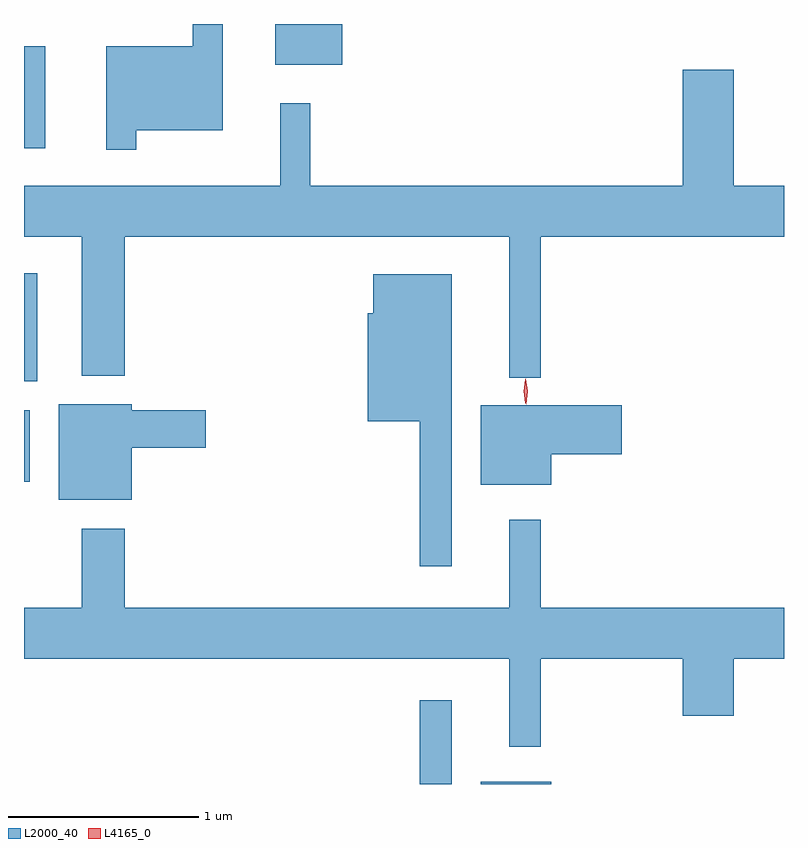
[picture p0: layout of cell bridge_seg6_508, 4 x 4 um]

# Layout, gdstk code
import gdstk
lib = gdstk.Library(unit=1e-6, precision=1e-09)
def R(c, l, rs):  # rectangles x0, y0, x1, y1
    for r in rs: c.add(gdstk.rectangle(r[:2], r[2:], *l))
def P(c, l, *ps):  # polygons
    for p in ps: c.add(gdstk.Polygon(p, *l))
L2000_40 = (2000, 40)
L4165_0 = (4165, 0)

bridge_seg6_508 = lib.new_cell('bridge_seg6_508')
R(bridge_seg6_508, L2000_40, [(513.391,1640.396,513.559,1640.838), (513.711,1640.396,514.084,1640.409), (511.308,1641.986,511.339,1642.364), (511.308,1642.516,511.379,1643.084), (511.308,1643.741,511.419,1644.279), (512.631,1644.181,512.984,1644.396)])
P(bridge_seg6_508, L2000_40, [(511.899,1643.836),(512.354,1643.836),(512.354,1644.396),(512.196,1644.396),(512.196,1644.279),(511.741,1644.279),(511.741,1643.733),(511.899,1643.733)],
  [(514.029,1643.276),(515.308,1643.276),(515.308,1643.544),(515.044,1643.544),(515.044,1644.154),(514.776,1644.154),(514.776,1643.544),(512.814,1643.544),(512.814,1643.978),(512.656,1643.978),(512.656,1643.544),(511.308,1643.544),(511.308,1643.276),(511.611,1643.276),(511.611,1642.546),(511.839,1642.546),(511.839,1643.276),(513.861,1643.276),(513.861,1642.533),(514.029,1642.533)],
  [(513.559,1643.079),(513.146,1643.079),(513.146,1642.874),(513.116,1642.874),(513.116,1642.306),(513.391,1642.306),(513.391,1641.543),(513.559,1641.543)],
  [(511.874,1642.166),(512.264,1642.166),(512.264,1642.364),(511.874,1642.364),(511.874,1642.394),(511.491,1642.394),(511.491,1641.891),(511.874,1641.891)],
  [(514.084,1642.131),(514.454,1642.131),(514.454,1642.389),(513.711,1642.389),(513.711,1641.971),(514.084,1641.971)],
  [(513.861,1641.788),(513.861,1641.324),(511.839,1641.324),(511.839,1641.739),(511.611,1641.739),(511.611,1641.324),(511.308,1641.324),(511.308,1641.056),(513.861,1641.056),(513.861,1640.593),(514.029,1640.593),(514.029,1641.056),(514.776,1641.056),(514.776,1640.756),(515.044,1640.756),(515.044,1641.056),(515.308,1641.056),(515.308,1641.324),(514.029,1641.324),(514.029,1641.788)])
P(bridge_seg6_508, L4165_0, [(513.951,1642.394),(513.951,1642.394),(513.94,1642.462),(513.949,1642.53),(513.95,1642.53),(513.95,1642.53),(513.96,1642.462),(513.952,1642.394)],
  [(513.947,1642.4),(513.947,1642.4),(513.937,1642.463),(513.947,1642.526),(513.947,1642.527),(513.948,1642.526),(513.957,1642.463),(513.948,1642.4)])

lib.write_gds('bridge_seg6_508.gds')
